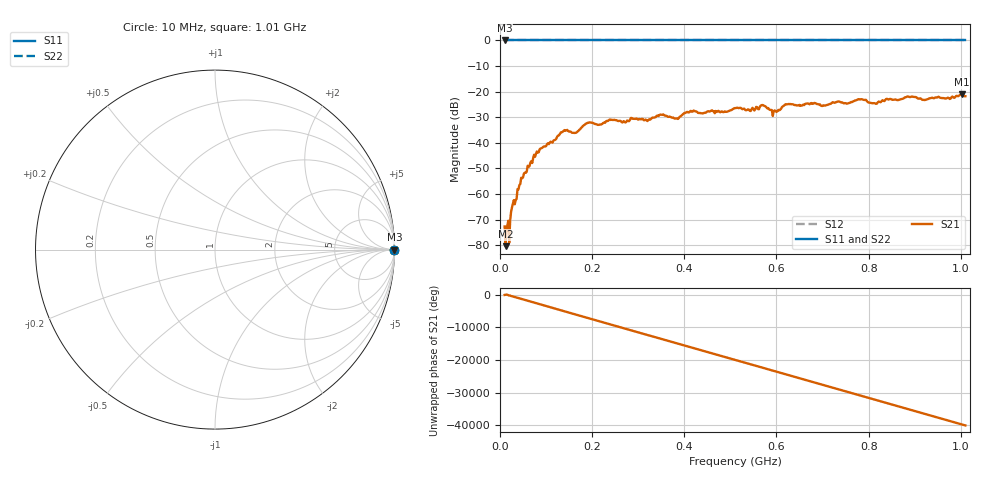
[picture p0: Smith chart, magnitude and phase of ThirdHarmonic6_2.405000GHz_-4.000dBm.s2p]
! 8/17/2025 3:59:34 AM
! C:\ANRITSUVNA\TEMP\TEMP.S2P
! CHANNEL.1
! TR.MEASUREMENT
! RAW.DATA
! RF.CORRECTION.OFF
! AVERAGING.OFF
! IF.BANDWIDTH: 5KHZ
! SWEEPTYPE:  FREQ.SWEEP(Linear)
! Reference Plane Port Info
! PORT:  PORT1  PORT2
! DISTANCE:  0  m  0  m
! TIME:  0  s  0  s
! PHASE.OFFSET:  0  deg.  0  deg.
! LOSS:  0  dB  0  dB
! REF.LOSS:  0  dB  0  dB
! REF.FREQ:  0  Hz  0  Hz
! Power Info
! POWER:  -20  dBm  -20  dBm
! EFF.POWER:  -20  dBm  -20  dBm
! SOURCE.ATTEN:  0  dB  0  dB
! TEST.ATTEN:  0  dB  0  dB
# GHZ S RI R 50.0
! FREQ.GHZ  S11RE  S11IM  S21RE  S21IM  S12RE  S12IM  S22RE  S22IM
!; PortSelection: Port_12
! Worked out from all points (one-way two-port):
!   501 points, 10 MHz to 1.01 GHz, reference 50 ohm
!   highest |S21| = -21.10 dB at 1.002 GHz (marker M1); lowest = -80.4 dB at 12 MHz (marker M2)
!   lowest |S11| = 0.0 dB at 10 MHz (marker M3)
!   |S11| at or under -10 dB: nowhere
!   |S22| runs from 0.0 to 0.0 dB; largest |S21 - S12| = 1.1
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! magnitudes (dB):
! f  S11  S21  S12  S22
! 10 MHz  0.0  -72.6  0.0  0.0
! 12 MHz  0.0  -80.4  0.0  0.0
! 16 MHz  0.0  -72.3  0.0  0.0
! 24 MHz  0.0  -67.0  0.0  0.0
! 26 MHz  0.0  -65.2  0.0  0.0
! 42 MHz  0.0  -56.5  0.0  0.0
! 76 MHz  0.0  -45.4  0.0  0.0
! 136 MHz  0.0  -35.6  0.0  0.0
! 162 MHz  0.0  -36.1  0.0  0.0
! 178 MHz  0.0  -33.9  0.0  0.0
! 344 MHz  0.0  -29.5  0.0  0.0
! 384 MHz  0.0  -30.5  0.0  0.0
! 416 MHz  0.0  -27.8  0.0  0.0
! 510 MHz  0.0  -26.4  0.0  0.0
! 570 MHz  0.0  -25.2  0.0  0.0
! 596 MHz  0.0  -27.3  0.0  0.0
! 622 MHz  0.0  -25.0  0.0  0.0
! 678 MHz  0.0  -24.8  0.0  0.0
! 814 MHz  0.0  -24.6  0.0  0.0
! 844 MHz  0.0  -23.1  0.0  0.0
! 1.002 GHz  0.0  -21.1  0.0  0.0
! 1.01 GHz  0.0  -21.8  0.0  0.0
